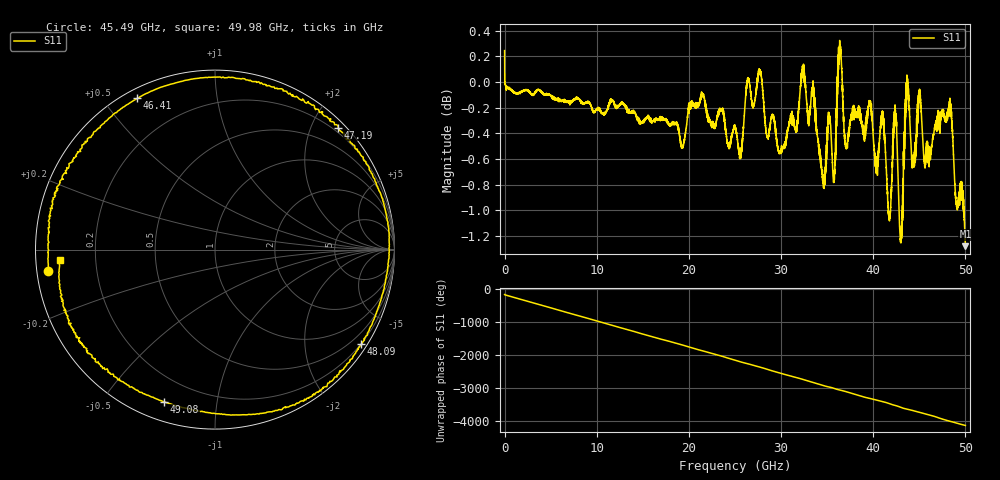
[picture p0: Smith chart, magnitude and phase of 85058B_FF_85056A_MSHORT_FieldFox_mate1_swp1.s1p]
!Created with skrf (http://scikit-rf.org).
# Hz S RI R 50.0
!freq ReS11 ImS11
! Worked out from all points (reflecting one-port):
!   10001 points, 300 kHz to 50 GHz, reference 50 ohm
!   lowest |S11| = -1.3 dB at 50 GHz (marker M1), VSWR 13.60, Z = 3.68 - j0.997 ohm
!   phase of S11 starts at -174 deg and turns -3964 deg over the sweep
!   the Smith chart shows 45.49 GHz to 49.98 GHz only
!   S11 on the Smith chart (normalised r, x): 45.49 GHz: 0.03, -0.06; 46.41 GHz: 0.04, +0.61; 47.19 GHz: 0.12, +2.43; 48.09 GHz: 0.18, -3.38; 49.08 GHz: 0.09, -0.72; 49.98 GHz: 0.07, -0.03
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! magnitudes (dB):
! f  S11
! 300 kHz  0.2
! 6.25 GHz  -0.1
! 12.5 GHz  -0.2
! 18.75 GHz  -0.3
! 25 GHz  -0.3
! 27.68 GHz  0.1
! 29.84 GHz  -0.5
! 31.25 GHz  -0.3
! 32.41 GHz  0.1
! 34.53 GHz  -0.8
! 35.71 GHz  -0.8
! 36.39 GHz  0.3
! 36.99 GHz  -0.5
! 37.5 GHz  -0.3
! 41.01 GHz  -0.3
! 41.75 GHz  -1.1
! 42.39 GHz  -0.3
! 42.98 GHz  -1.2
! 43.75 GHz  -0.1
! 44.29 GHz  -0.6
! 44.99 GHz  -0.1
! 45.49 GHz  -0.6
! 46.41 GHz  -0.5
! 47.19 GHz  -0.3
! 48.09 GHz  -0.3
! 49.08 GHz  -1.0
! 49.98 GHz  -1.3
! 50 GHz  -1.3
